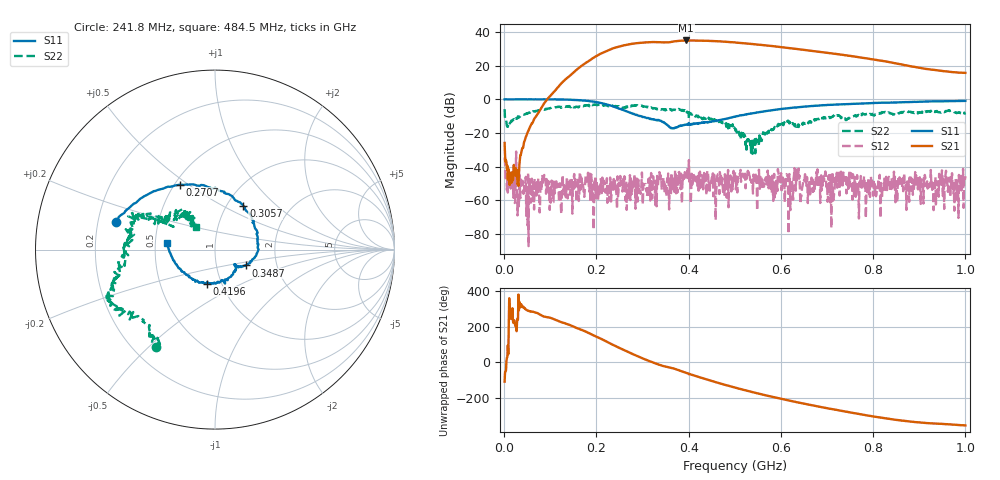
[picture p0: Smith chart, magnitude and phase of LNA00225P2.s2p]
! Created with skrf 1.9.0 (http://scikit-rf.org).
# Hz S RI R 50.0
!freq ReS11 ImS11 ReS21 ImS21 ReS12 ImS12 ReS22 ImS22
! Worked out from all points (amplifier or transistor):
!   1001 points, 1 MHz to 1 GHz, reference 50 ohm
!   highest |S21| = 35.0 dB at 394.6 MHz (marker M1)
!   |S21| within 3 dB of that: 257.7 MHz to 569 MHz (311.3 MHz wide, 75.3 % of centre)
!   unconditionally stable (mu >= 1): start of sweep to 86.4 MHz; 298.8 MHz to 397.5 MHz; 400.8 MHz to end of sweep (the widest 3 of 25)
!   at 166.8 MHz: K = 1.20, MAG = 30.4 dB, |S12| = -46.6 dB
!   at 500.5 MHz: K = 1.51, MAG = 34.3 dB, |S12| = -43.1 dB
!   at 1 GHz: K = 2.98, MAG = 23.1 dB, |S12| = -45.7 dB
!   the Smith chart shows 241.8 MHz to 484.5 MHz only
!   S11 on the Smith chart (normalised r, x): 241.8 MHz: 0.28, +0.13; 270.7 MHz: 0.53, +0.46; 305.7 MHz: 1.19, +0.63; 348.7 MHz: 1.39, -0.26; 419.6 MHz: 0.85, -0.34; 484.5 MHz: 0.58, +0.05
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1000000  0.993 0.0166  -0.0158 -0.0478  -0.000604 0.0185  0.3415 0.3781
1.07893e8  0.5247 -0.8435  -0.7459 -1.485  0.00326 -0.00141  0.4281 -0.3687
1.67833e8  -0.2446 -0.8931  -9.881 -0.5493  -0.00269 -0.0036  0.0327 -0.6425
2.09791e8  -0.6799 -0.3711  -15.56 16.77  -0.00256 -0.00315  -0.1937 -0.6446
2.41759e8  -0.5516 0.154  -1.007 34.66  0.00106 -0.00202  -0.3311 -0.5422
2.7073e8  -0.1963 0.3613  24.15 35.57  0.00271 0.00148  -0.5329 -0.3678
3.05695e8  0.1587 0.2431  46.63 14.15  -0.00235 0.00188  -0.5678 -0.2108
3.34666e8  0.243 0.000602  49.03 -10.23  -0.00328 0.00442  -0.5039 -0.0342
3.48652e8  0.1729 -0.0883  45.27 -18.92  0.000171 0.00311  -0.5069 0.0135
3.72628e8  0.1148 -0.0864  42.16 -33.22  -0.00139 -0.000777  -0.4525 0.1448
3.94606e8  0.0776 -0.1567  29.13 -48.04  -0.0011 0.00469  -0.4097 0.1782
4.19581e8  -0.0439 -0.1892  9.73 -54.89  0.00456 0.00354  -0.2561 0.1511
4.49551e8  -0.1749 -0.1253  -13.13 -52.44  0.00377 0.00134  -0.1583 0.2101
4.84516e8  -0.2668 0.037  -32.64 -39.18  0.0044 0.000803  -0.1081 0.124
5.005e8  -0.2723 0.1286  -38.49 -30.6  0.0017 -0.00678  -0.1028 0.0883
5.39461e8  -0.2054 0.3279  -42.8 -9.369  0.00155 0.000315  -0.0495 0.00381
5.88412e8  0.00384 0.4899  -35.41 11.57  0.00152 -0.00022  -0.1248 -0.0767
6.28372e8  0.1967 0.5313  -24.45 20.64  0.00435 -0.00327  -0.1304 -0.104
6.67333e8  0.3846 0.499  -13.21 23.94  -0.00226 -0.00205  -0.2336 -0.0496
7.53247e8  0.664 0.2966  4.181 18.73  -0.00229 -0.00372  -0.3022 0.00153
8.34166e8  0.7908 0.0428  9.386 8.725  -0.00425 -0.00254  -0.4011 0.0405
1e9  0.7422 -0.4994  6.065 0.5951  -0.00373 -0.00358  -0.2083 0.3281
